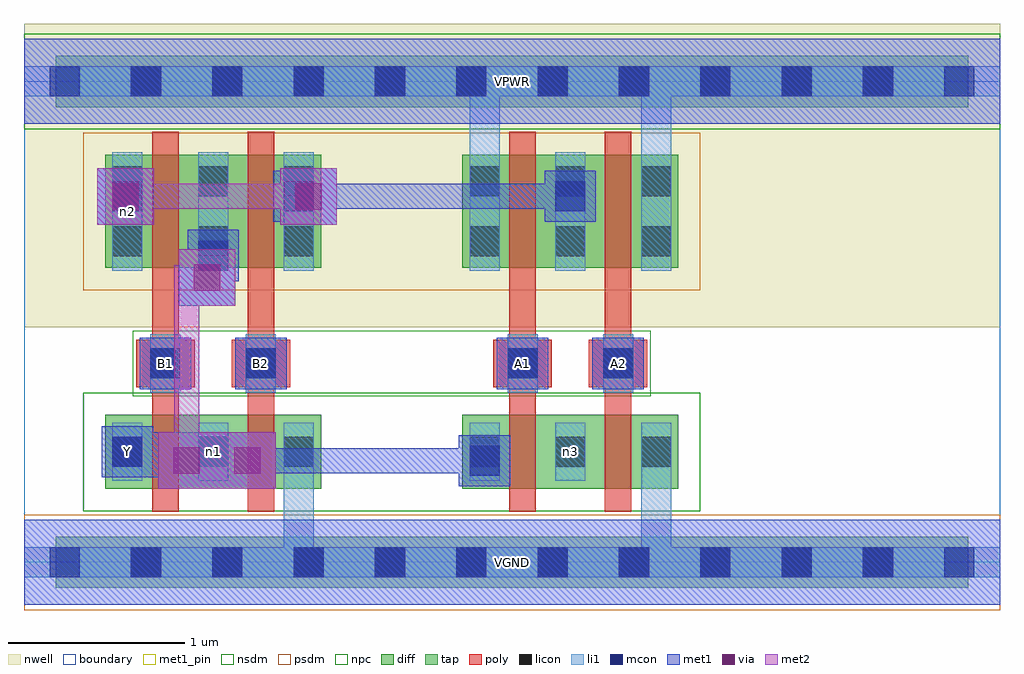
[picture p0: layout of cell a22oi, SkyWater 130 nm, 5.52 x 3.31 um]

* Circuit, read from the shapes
.subckt a22oi A1 A2 B1 B2 VGND VPWR Y n1 n2 n3
XM1 n1 B1 Y VGND sky130_fd_pr__nfet_01v8 w=0.42 l=0.15
XM2 VGND B2 n1 VGND sky130_fd_pr__nfet_01v8 w=0.42 l=0.15
XM3 n3 A1 Y VGND sky130_fd_pr__nfet_01v8 w=0.42 l=0.15
XM4 VGND A2 n3 VGND sky130_fd_pr__nfet_01v8 w=0.42 l=0.15
XM5 Y B1 n2 VPWR sky130_fd_pr__pfet_01v8 w=0.64 l=0.15
XM6 n2 B2 Y VPWR sky130_fd_pr__pfet_01v8 w=0.64 l=0.15
XM7 n2 A1 VPWR VPWR sky130_fd_pr__pfet_01v8 w=0.64 l=0.15
XM8 VPWR A2 n2 VPWR sky130_fd_pr__pfet_01v8 w=0.64 l=0.15
.ends

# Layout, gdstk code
import gdstk
lib = gdstk.Library(unit=1e-6, precision=1e-09)
def R(c, l, rs):  # rectangles x0, y0, x1, y1
    for r in rs: c.add(gdstk.rectangle(r[:2], r[2:], *l))
def A(c, l, x, y, w, h, nx, ny, dx, dy):  # array of equal rectangles
    R(c, l, [(x+i*dx, y+j*dy, x+i*dx+w, y+j*dy+h) for i in range(nx) for j in range(ny)])
nwell = (64, 20)
diff = (65, 20)
tap = (65, 44)
poly = (66, 20)
licon = (66, 44)
li1 = (67, 20)
mcon = (67, 44)
met1_pin = (68, 16)
met1 = (68, 20)
via = (68, 44)
met2 = (69, 20)
nsdm = (93, 44)
psdm = (94, 20)
npc = (95, 20)
boundary = (235, 4)

a22oi = lib.new_cell('a22oi')
R(a22oi, nwell, [(0,1.33,5.52,3.045)])
R(a22oi, diff, [(0.46,0.415,1.68,0.835), (2.48,0.415,3.7,0.835), (0.46,1.665,1.68,2.305), (2.48,1.665,3.7,2.305)])
R(a22oi, tap, [(0.18,-0.145,5.34,0.145), (0.18,2.575,5.34,2.865)])
R(a22oi, poly, [(0.725,0.285,0.875,2.435), (1.265,0.285,1.415,2.435), (2.745,0.285,2.895,2.435), (3.285,0.285,3.435,2.435), (0.635,0.99,0.965,1.26), (1.175,0.99,1.505,1.26), (2.655,0.99,2.985,1.26), (3.195,0.99,3.525,1.26)])
A(a22oi, licon, 0.605, -0.085, 0.17, 0.17, 10, 2, 0.46, 2.72)
A(a22oi, licon, 0.5, 0.54, 0.17, 0.17, 3, 2, 0.485, 1.19)
A(a22oi, licon, 2.52, 0.54, 0.17, 0.17, 3, 2, 0.485, 1.19)
A(a22oi, licon, 0.5, 2.07, 0.17, 0.17, 3, 1, 0.485, 0)
A(a22oi, licon, 2.52, 2.07, 0.17, 0.17, 3, 1, 0.485, 0)
R(a22oi, licon, [(0.715,1.04,0.885,1.21), (1.255,1.04,1.425,1.21), (2.735,1.04,2.905,1.21), (3.275,1.04,3.445,1.21)])
A(a22oi, li1, 0.5, 0.46, 0.17, 0.33, 3, 1, 0.485, 0)
A(a22oi, li1, 2.52, 0.46, 0.17, 0.33, 3, 1, 0.485, 0)
A(a22oi, li1, 0.5, 1.65, 0.17, 0.67, 3, 1, 0.485, 0)
A(a22oi, li1, 2.52, 1.65, 0.17, 0.67, 3, 1, 0.485, 0)
R(a22oi, li1, [(0,-0.085,5.52,0.085), (1.47,-0.085,1.64,0.79), (3.49,-0.085,3.66,0.79), (0.715,0.96,0.885,1.29), (1.255,0.96,1.425,1.29), (2.735,0.96,2.905,1.29), (3.275,0.96,3.445,1.29), (2.52,1.65,2.69,2.805), (3.49,1.65,3.66,2.805), (0,2.635,5.52,2.805)])
A(a22oi, mcon, 0.145, -0.085, 0.17, 0.17, 12, 2, 0.46, 2.72)
R(a22oi, mcon, [(2.52,0.49,2.69,0.66), (0.5,0.54,0.67,0.71), (0.715,1.04,0.885,1.21), (1.255,1.04,1.425,1.21), (2.735,1.04,2.905,1.21), (3.275,1.04,3.445,1.21), (0.985,1.65,1.155,1.82), (0.5,1.985,0.67,2.155), (1.47,1.985,1.64,2.155), (3.005,1.985,3.175,2.155)])
R(a22oi, met1_pin, [(0,-0.24,5.52,0.24), (0.44,0.48,0.73,0.77), (0.655,0.98,0.945,1.27), (1.195,0.98,1.485,1.27), (2.675,0.98,2.965,1.27), (3.215,0.98,3.505,1.27), (0,2.48,5.52,2.96)])
R(a22oi, met1, [(0,-0.24,5.52,0.24), (0.76,0.415,1.08,0.735), (1.08,0.415,1.105,0.735), (1.105,0.415,1.425,0.735), (2.46,0.43,2.75,0.72), (0.44,0.48,0.73,0.77), (0.73,0.48,0.76,0.735), (0.505,0.505,0.645,0.645), (0.505,0.505,0.99,0.645), (0.99,0.505,1.105,0.645), (1.08,0.505,1.195,0.645), (1.195,0.505,2.485,0.645), (2.345,0.505,2.675,0.645), (0.655,0.98,0.945,1.27), (1.195,0.98,1.485,1.27), (2.675,0.98,2.965,1.27), (3.215,0.98,3.505,1.27), (0.875,1.45,1.195,1.77), (0.965,1.54,1.105,1.805), (0.925,1.59,1.215,1.88), (0.965,1.665,1.14,1.805), (0.415,1.91,0.735,2.23), (1.45,1.91,1.77,2.23), (0.44,1.925,0.73,2.215), (1.41,1.925,1.7,2.215), (2.945,1.925,3.235,2.215), (0.505,2,0.655,2.14), (1.485,2,1.68,2.14), (1.54,2,3.06,2.14), (2.92,2,3.16,2.14), (0,2.48,5.52,2.96)])
R(a22oi, via, [(0.845,0.5,0.995,0.65), (1.19,0.5,1.34,0.65), (0.96,1.535,1.11,1.685), (0.5,1.995,0.65,2.145), (1.535,1.995,1.685,2.145)])
R(a22oi, met2, [(0.76,0.415,1.08,0.735), (1.08,0.415,1.105,0.735), (1.105,0.415,1.425,0.735), (0.85,0.505,0.99,1.68), (0.85,0.505,1.335,0.645), (0.99,0.505,1.105,0.735), (0.875,1.45,1.195,1.77), (0.85,1.54,1.105,1.68), (0.415,1.91,0.735,2.23), (1.45,1.91,1.77,2.23), (0.505,2,1.68,2.14)])
R(a22oi, nsdm, [(0.335,0.29,3.825,0.96), (0,2.45,5.52,2.99)])
R(a22oi, psdm, [(0,-0.27,5.52,0.27), (0.335,1.54,3.825,2.43)])
R(a22oi, npc, [(0.615,0.94,3.545,1.31)])
R(a22oi, boundary, [(0,0,5.52,2.72)])
a22oi.add(gdstk.Label('n1', (1.07,0.625), layer=67, texttype=5))
a22oi.add(gdstk.Label('n3', (3.09,0.625), layer=67, texttype=5))
a22oi.add(gdstk.Label('n2', (0.585,1.985), layer=67, texttype=5))
a22oi.add(gdstk.Label('A1', (2.82,1.125), layer=68, texttype=5))
a22oi.add(gdstk.Label('A2', (3.36,1.125), layer=68, texttype=5))
a22oi.add(gdstk.Label('B1', (0.8,1.125), layer=68, texttype=5))
a22oi.add(gdstk.Label('B2', (1.34,1.125), layer=68, texttype=5))
a22oi.add(gdstk.Label('Y', (0.585,0.625), layer=68, texttype=5))
a22oi.add(gdstk.Label('VPWR', (2.76,2.72), layer=68, texttype=5))
a22oi.add(gdstk.Label('VGND', (2.76,0), layer=68, texttype=5))
a22oi.add(gdstk.Label('A1', (2.82,1.125), layer=68, texttype=16))
a22oi.add(gdstk.Label('A2', (3.36,1.125), layer=68, texttype=16))
a22oi.add(gdstk.Label('B1', (0.8,1.125), layer=68, texttype=16))
a22oi.add(gdstk.Label('B2', (1.34,1.125), layer=68, texttype=16))
a22oi.add(gdstk.Label('Y', (0.585,0.625), layer=68, texttype=16))
a22oi.add(gdstk.Label('VPWR', (2.76,2.72), layer=68, texttype=16))
a22oi.add(gdstk.Label('VGND', (2.76,0), layer=68, texttype=16))

lib.write_gds('a22oi.gds')
